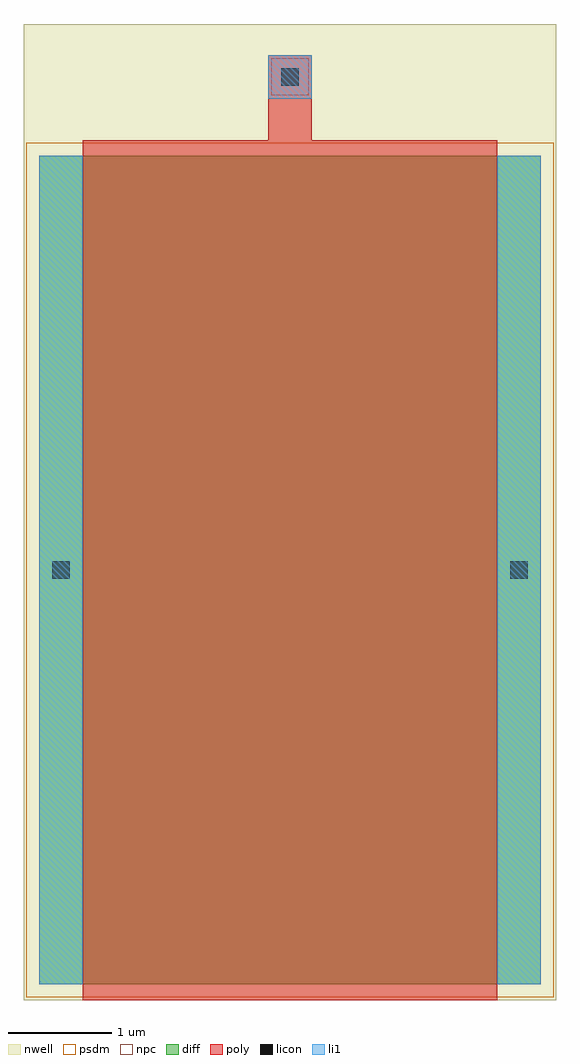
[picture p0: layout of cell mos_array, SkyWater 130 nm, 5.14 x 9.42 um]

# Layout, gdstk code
import gdstk
lib = gdstk.Library(unit=1e-6, precision=1e-09)
def R(c, l, rs):  # rectangles x0, y0, x1, y1
    for r in rs: c.add(gdstk.rectangle(r[:2], r[2:], *l))
nwell = (64, 20)
diff = (65, 20)
poly = (66, 20)
licon = (66, 44)
li1 = (67, 20)
psdm = (94, 20)
npc = (95, 20)

mos_array = lib.new_cell('mos_array')
R(mos_array, nwell, [(-0.15,-0.15,4.99,9.27)])
R(mos_array, diff, [(0,0,4.84,8)])
R(mos_array, poly, [(0.42,-0.15,4.42,8), (0.42,8,4.42,8.15), (0.42,8,4.42,8.15), (2.21,8.15,2.63,8.97)])
R(mos_array, licon, [(0.125,3.915,0.295,4.085), (4.545,3.915,4.715,4.085), (2.335,8.675,2.505,8.845)])
R(mos_array, li1, [(0,0,0.42,8), (4.42,0,4.84,8), (2.21,8.55,2.63,8.97)])
R(mos_array, psdm, [(-0.125,-0.125,4.965,8.125)])
R(mos_array, npc, [(2.24,8.58,2.6,8.94)])

lib.write_gds('mos_array.gds')
